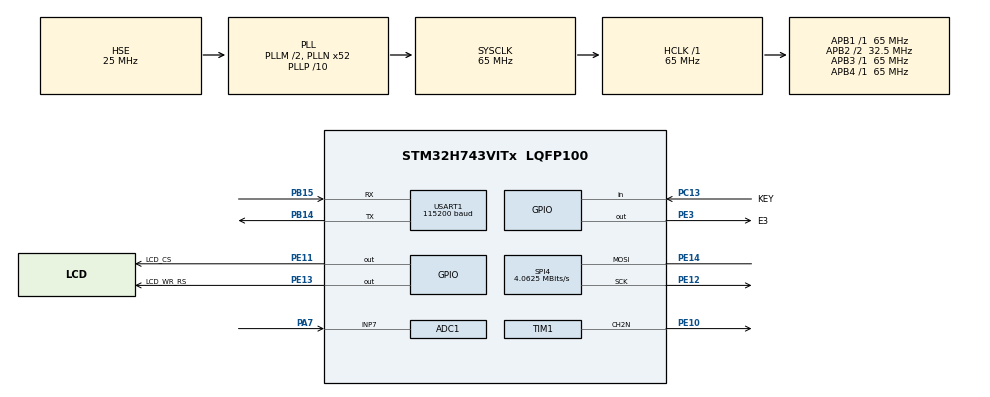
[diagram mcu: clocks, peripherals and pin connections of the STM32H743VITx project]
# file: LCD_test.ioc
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ADC1.Channel-0\#ChannelRegularConversion=ADC_CHANNEL_7
ADC1.NbrOfConversionFlag=1
ADC1.OffsetNumber-0\#ChannelRegularConversion=ADC_OFFSET_NONE
ADC1.OffsetSignedSaturation-0\#ChannelRegularConversion=DISABLE
ADC1.Rank-0\#ChannelRegularConversion=1
ADC1.Resolution=ADC_RESOLUTION_16B
ADC1.SamplingTime-0\#ChannelRegularConversion=ADC_SAMPLETIME_1CYCLE_5
ADC1.master=1
Mcu.Family=STM32H7
Mcu.Name=STM32H743VITx
Mcu.Package=LQFP100
NVIC.PriorityGroup=NVIC_PRIORITYGROUP_4
NVIC.TIM6_DAC_IRQn=true\:0\:0\:false\:false\:true\:true\:true\:true
PA13\ (JTMS/SWDIO).Mode=Serial_Wire
PA13\ (JTMS/SWDIO).Signal=DEBUG_JTMS-SWDIO
PA14\ (JTCK/SWCLK).Mode=Serial_Wire
PA14\ (JTCK/SWCLK).Signal=DEBUG_JTCK-SWCLK
PA7.Signal=ADCx_INP7
PB14.Mode=Asynchronous
PB14.Signal=USART1_TX
PB15.Mode=Asynchronous
PB15.Signal=USART1_RX
PC13.GPIO_Label=KEY
PC13.GPIO_PuPd=GPIO_PULLDOWN
PC13.Signal=GPIO_Input
PC14-OSC32_IN\ (OSC32_IN).Mode=LSE-External-Oscillator
PC14-OSC32_IN\ (OSC32_IN).Signal=RCC_OSC32_IN
PC15-OSC32_OUT\ (OSC32_OUT).Mode=LSE-External-Oscillator
PC15-OSC32_OUT\ (OSC32_OUT).Signal=RCC_OSC32_OUT
PE10.Mode=PWM Generation2 CH2N
PE10.Signal=TIM1_CH2N
PE11.GPIO_Label=LCD_CS
PE11.GPIO_Speed=GPIO_SPEED_FREQ_VERY_HIGH
PE11.PinState=GPIO_PIN_SET
PE11.Signal=GPIO_Output
PE12.Mode=Simplex_Bidirectional_Master
PE12.Signal=SPI4_SCK
PE13.GPIO_Label=LCD_WR_RS
PE13.GPIO_Speed=GPIO_SPEED_FREQ_VERY_HIGH
PE13.PinState=GPIO_PIN_SET
PE13.Signal=GPIO_Output
PE14.Mode=Simplex_Bidirectional_Master
PE14.Signal=SPI4_MOSI
PE3.GPIO_Label=E3
PE3.Signal=GPIO_Output
PH0-OSC_IN\ (PH0).Mode=HSE-External-Oscillator
PH0-OSC_IN\ (PH0).Signal=RCC_OSC_IN
PH1-OSC_OUT\ (PH1).Mode=HSE-External-Oscillator
PH1-OSC_OUT\ (PH1).Signal=RCC_OSC_OUT
ProjectManager.HeapSize=0x200
ProjectManager.StackSize=0x400
ProjectManager.TargetToolchain=STM32CubeIDE
RCC.ADCCLockSelection=RCC_ADCCLKSOURCE_CLKP
RCC.ADCFreq_Value=25000000
RCC.APB1Freq_Value=65000000
RCC.APB2Freq_Value=32500000
RCC.APB3Freq_Value=65000000
RCC.APB4Freq_Value=65000000
RCC.CKPERSourceSelection=RCC_CLKPSOURCE_HSE
RCC.CortexFreq_Value=65000000
RCC.D2PPRE2=RCC_APB2_DIV2
RCC.DIVM1=2
RCC.DIVM2=12
RCC.DIVN1=52
RCC.DIVP1=10
RCC.DIVR1=5
RCC.HCLKFreq_Value=65000000
RCC.PLL2FRACN=0
RCC.PLL3FRACN=0
RCC.PLLFRACN=0
RCC.PLLSourceVirtual=RCC_PLLSOURCE_HSE
RCC.SYSCLKFreq_VALUE=65000000
RCC.SYSCLKSource=RCC_SYSCLKSOURCE_PLLCLK
RCC.USBFreq_Value=325000000
SH.ADCx_INP7.0=ADC1_INP7,IN7-Single-Ended
SPI4.BaudRatePrescaler=SPI_BAUDRATEPRESCALER_8
SPI4.CalculateBaudRate=4.0625 MBits/s
SPI4.DataSize=SPI_DATASIZE_8BIT
SPI4.Direction=SPI_DIRECTION_1LINE
SPI4.Mode=SPI_MODE_MASTER
SPI4.VirtualType=VM_MASTER
TIM1.Channel-PWM\ Generation2\ CH2N=TIM_CHANNEL_2
TIM1.OCNPolarity_2=TIM_OCNPOLARITY_LOW
TIM1.Period=1000-1
TIM1.Prescaler=12-1
TIM6.Period=999
TIM6.Prescaler=64999
USART1.BaudRate=115200
USART1.VirtualMode-Asynchronous=VM_ASYNC
VP_RTC_VS_RTC_Activate.Mode=RTC_Enabled
VP_RTC_VS_RTC_Calendar.Mode=RTC_Calendar
VP_TIM6_VS_ClockSourceINT.Mode=Enable_Timer
board=custom

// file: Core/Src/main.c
/* USER CODE BEGIN Header */
/**
  ******************************************************************************
  * @file           : main.c
  * @brief          : Main program body
  ******************************************************************************
  * @attention
  *
  * <h2><center>&copy; Copyright (c) 2020 STMicroelectronics.
  * All rights reserved.</center></h2>
  *
  * This software component is licensed by ST under BSD 3-Clause license,
  * the "License"; You may not use this file except in compliance with the
  * License. You may obtain a copy of the License at:
  *                        opensource.org/licenses/BSD-3-Clause
  *
  ******************************************************************************
  */
/* USER CODE END Header */
#include "main.h"
#include "adc.h"
#include "rtc.h"
#include "spi.h"
#include "tim.h"
#include "usart.h"
#include "gpio.h"

/* USER CODE BEGIN Includes */
#include "lcd.h"
#include "test.h"
/* USER CODE END Includes */

/* USER CODE BEGIN PV */
volatile uint16_t adc_value;
uint64_t last_time = 0;
uint8_t msg[64];
volatile uint32_t system_ticks = 0;  // Глобальный �?четчик тиков
uint8_t adc_ready =0;
/* USER CODE END PV */

void SystemClock_Config(void);
void PeriphCommonClock_Config(void);

/* USER CODE BEGIN 0 */

static void LED_Blink(uint32_t Hdelay,uint32_t Ldelay)
{
	HAL_GPIO_WritePin(E3_GPIO_Port,E3_Pin,GPIO_PIN_SET);
	HAL_Delay(Hdelay - 1);
	HAL_GPIO_WritePin(E3_GPIO_Port,E3_Pin,GPIO_PIN_RESET);
	HAL_Delay(Ldelay-1);
}

/**
  * @brief  Get the current time and date.
  * @param
  * @retval None
  */
static void RTC_CalendarShow(RTC_DateTypeDef *sdatestructureget,RTC_TimeTypeDef *stimestructureget)
{
  /* ����ͬʱ��ȡʱ������� ��Ȼ�ᵼ���´�RTC���ܶ�ȡ */
  /* Both time and date must be obtained or RTC cannot be read next time */
  /* Get the RTC current Time */
  HAL_RTC_GetTime(&hrtc, stimestructureget, RTC_FORMAT_BIN);
  /* Get the RTC current Date */
  HAL_RTC_GetDate(&hrtc, sdatestructureget, RTC_FORMAT_BIN);
}

void HAL_TIM_PeriodElapsedCallback(TIM_HandleTypeDef *htim)
{
        if(htim->Instance == TIM6) //check if the interrupt comes from TIM6
        {

//        	HAL_UART_Transmit(&huart1, msg, sprintf((char*)msg,"%d",adc_value),100);
//        	HAL_UART_Transmit(&huart1, "\n", 1,100);

        }
}
/* USER CODE END 0 */

int main(void)
{
  /* USER CODE BEGIN 1 */

  MPU_Config();
  CPU_CACHE_Enable();

  /* USER CODE END 1 */

  /* MCU Configuration--------------------------------------------------------*/

  /* Reset of all peripherals, Initializes the Flash interface and the Systick. */
  HAL_Init();

  /* Configure the system clock */
  SystemClock_Config();

/* Configure the peripherals common clocks */
  PeriphCommonClock_Config();

  /* Initialize all configured peripherals */
  MX_GPIO_Init();
  MX_SPI4_Init();
  MX_TIM1_Init();
  MX_RTC_Init();
  MX_ADC1_Init();
  MX_USART1_UART_Init();
  MX_TIM6_Init();
  /* USER CODE BEGIN 2 */
  HAL_TIM_Base_Start_IT(&htim6);
  __HAL_TIM_SET_PRESCALER(&htim6,649-1);
  __HAL_TIM_SET_AUTORELOAD(&htim6,10-1);
//	HAL_TIMEx_PWMN_Start(&htim1,TIM_CHANNEL_2);
//	__HAL_TIM_SetCompare(&htim1,TIM_CHANNEL_2,10);
	LCD_Test();
	HAL_ADCEx_Calibration_Start(&hadc1, ADC_CALIB_OFFSET_LINEARITY  , ADC_SINGLE_ENDED);
	//Стандартна�?? калибровка дл�?? одиночных входов

  /* USER CODE END 2 */

  /* Infinite loop */
  /* USER CODE BEGIN WHILE */
	uint8_t text[20];
	RTC_DateTypeDef sdatestructureget;
	RTC_TimeTypeDef stimestructureget;
	uint32_t tick = HAL_GetTick();
  while (1)
  {
    /* USER CODE END WHILE */

    /* USER CODE BEGIN 3 */
//		RTC_CalendarShow(&sdatestructureget,&stimestructureget);
////		ST7735_LCD_Driver.FillRect(&st7735_pObj, 0, 12, (50*ST7735Ctx.Width)/ 100, 3, BLACK);
//
//
//		if (stimestructureget.Seconds % 2 == 1)
//			sprintf((char *)&text,"Time: %02d:%02d", stimestructureget.Hours, stimestructureget.Minutes);
//		else
//			sprintf((char *)&text,"Time: %02d %02d", stimestructureget.Hours, stimestructureget.Minutes);
//		LCD_ShowString(4, 58, 160, 16, 16, text);
//
//		ST7735_LCD_Driver.SetPixel(&st7735_pObj,100,10,GREEN);
//
//
//
//		ST7735_LCD_Driver.FillRect(&st7735_pObj, 0, ST7735Ctx.Height - 3, (50*ST7735Ctx.Width)/ 100, 3, 0xFFFF);

//	  	sprintf((char *)&text,"HELL WORLD!!!");
//	  	LCD_ShowString(0, 0, 160, 16, 16,text);
//		sprintf((char *)&text,"Time %d s",HAL_GetTick()/1000);
//		LCD_ShowString(0, 16, 160, 16, 16,text);

//		LED_Blink(3,1000);

//		HAL_ADC_Start(&hadc1);
//		HAL_ADC_PollForConversion(&hadc1, 1000);
//		adc_value = HAL_ADC_GetValue(&hadc1);
//		HAL_ADC_Stop(&hadc1);

		if(HAL_GetTick() - last_time >= 5){
			last_time = HAL_GetTick();
//			HAL_UART_Transmit(&huart1, msg, sprintf((char*)msg,"Test"),0xFFFF);
			HAL_ADC_Start(&hadc1);
			HAL_ADC_PollForConversion(&hadc1, 1);
			adc_value = HAL_ADC_GetValue(&hadc1);
			HAL_ADC_Stop(&hadc1);
			adc_ready = 1;
			HAL_UART_Transmit(&huart1, msg, sprintf((char*)msg,"%d",adc_value),100);
			HAL_UART_Transmit(&huart1, "\n", 1,100);

		}

		if (adc_ready){
			adc_ready = 0;

//		adc_value = (adc_value*160)/4096;
////					HAL_GPIO_WritePin(GPIOE,GPIO_PIN_3,1);
//
//		if(adc_value>=80){
//			HAL_GPIO_WritePin(GPIOE,GPIO_PIN_3,1);
//		}else{
//			HAL_GPIO_WritePin(GPIOE,GPIO_PIN_3,0);
//
//		}
//
//
//		sprintf((char *)&text,"%u ",adc_value);
//		LCD_ShowString(0, 22, 160, 16, 16,text);
////		ST7735_LCD_Driver.FillRect(&st7735_pObj, 0, 12, adc_value, 3, 0xFFFF);
//
//		uint16_t buffer[10][160];  // 2 �?троки по 160 пик�?елей
//
//		// Заполн�?ем буфер
//		for (uint16_t col = 0; col < 160; col++) {
//		    uint16_t color = (col < adc_value) ? WHITE : BLACK;
//		    for(uint16_t row = 0; row < 10; row++){
//		    buffer[row][col] = color;
//		    }
//		}
//
//		// Выводим (вы�?ота = 2, ширина = 160)
//		ST7735_FillRGBRect(&st7735_pObj, 0, 12, (uint8_t*)buffer, 160, 10);
		}

  }
  /* USER CODE END 3 */
}

void SystemClock_Config(void)
{
  RCC_OscInitTypeDef RCC_OscInitStruct = {0};
  RCC_ClkInitTypeDef RCC_ClkInitStruct = {0};

  /** Supply configuration update enable
  */
  HAL_PWREx_ConfigSupply(PWR_LDO_SUPPLY);

  /** Configure the main internal regulator output voltage
  */
  __HAL_PWR_VOLTAGESCALING_CONFIG(PWR_REGULATOR_VOLTAGE_SCALE3);

  while(!__HAL_PWR_GET_FLAG(PWR_FLAG_VOSRDY)) {}

  /** Initializes the RCC Oscillators according to the specified parameters
  * in the RCC_OscInitTypeDef structure.
  */
  RCC_OscInitStruct.OscillatorType = RCC_OSCILLATORTYPE_LSI|RCC_OSCILLATORTYPE_HSE;
  RCC_OscInitStruct.HSEState = RCC_HSE_ON;
  RCC_OscInitStruct.LSIState = RCC_LSI_ON;
  RCC_OscInitStruct.PLL.PLLState = RCC_PLL_ON;
  RCC_OscInitStruct.PLL.PLLSource = RCC_PLLSOURCE_HSE;
  RCC_OscInitStruct.PLL.PLLM = 2;
  RCC_OscInitStruct.PLL.PLLN = 52;
  RCC_OscInitStruct.PLL.PLLP = 10;
  RCC_OscInitStruct.PLL.PLLQ = 2;
  RCC_OscInitStruct.PLL.PLLR = 5;
  RCC_OscInitStruct.PLL.PLLRGE = RCC_PLL1VCIRANGE_3;
  RCC_OscInitStruct.PLL.PLLVCOSEL = RCC_PLL1VCOWIDE;
  RCC_OscInitStruct.PLL.PLLFRACN = 0;
  if (HAL_RCC_OscConfig(&RCC_OscInitStruct) != HAL_OK)
  {
    Error_Handler();
  }

  /** Initializes the CPU, AHB and APB buses clocks
  */
  RCC_ClkInitStruct.ClockType = RCC_CLOCKTYPE_HCLK|RCC_CLOCKTYPE_SYSCLK
                              |RCC_CLOCKTYPE_PCLK1|RCC_CLOCKTYPE_PCLK2
                              |RCC_CLOCKTYPE_D3PCLK1|RCC_CLOCKTYPE_D1PCLK1;
  RCC_ClkInitStruct.SYSCLKSource = RCC_SYSCLKSOURCE_PLLCLK;
  RCC_ClkInitStruct.SYSCLKDivider = RCC_SYSCLK_DIV1;
  RCC_ClkInitStruct.AHBCLKDivider = RCC_HCLK_DIV1;
  RCC_ClkInitStruct.APB3CLKDivider = RCC_APB3_DIV1;
  RCC_ClkInitStruct.APB1CLKDivider = RCC_APB1_DIV1;
  RCC_ClkInitStruct.APB2CLKDivider = RCC_APB2_DIV2;
  RCC_ClkInitStruct.APB4CLKDivider = RCC_APB4_DIV1;

  if (HAL_RCC_ClockConfig(&RCC_ClkInitStruct, FLASH_LATENCY_1) != HAL_OK)
  {
    Error_Handler();
  }
}

void PeriphCommonClock_Config(void)
{
  RCC_PeriphCLKInitTypeDef PeriphClkInitStruct = {0};

  /** Initializes the peripherals clock
  */
  PeriphClkInitStruct.PeriphClockSelection = RCC_PERIPHCLK_CKPER;
  PeriphClkInitStruct.CkperClockSelection = RCC_CLKPSOURCE_HSE;
  if (HAL_RCCEx_PeriphCLKConfig(&PeriphClkInitStruct) != HAL_OK)
  {
    Error_Handler();
  }
}

void Error_Handler(void)
{
  /* USER CODE BEGIN Error_Handler_Debug */
  /* User can add his own implementation to report the HAL error return state */
  LED_Blink(500,500);
  /* USER CODE END Error_Handler_Debug */
}
